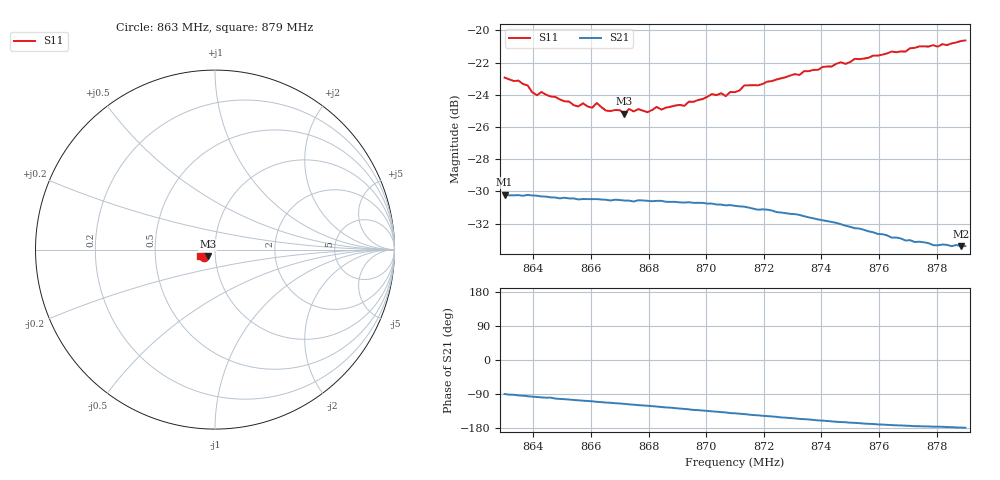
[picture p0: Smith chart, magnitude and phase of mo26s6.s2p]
# HZ S RI R 50
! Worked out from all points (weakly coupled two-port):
!   101 points, 863 MHz to 879 MHz, reference 50 ohm
!   highest |S21| = -30.20 dB at 863 MHz (marker M1); lowest = -33.4 dB at 878.84 MHz (marker M2)
!   lowest |S11| = -25.2 dB at 867.16 MHz (marker M3), VSWR 1.12, Z = 46 - j3.48 ohm
!   |S11| at or under -10 dB: start of sweep to end of sweep
!   S12 and S22 are empty: the file has one direction only
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8.63e8  -0.0585 -0.0409  0.000192 -0.0309  0 0  0 0
8.638e8  -0.0557 -0.0382  -0.00298 -0.0307  0 0  0 0
8.6412e8  -0.0507 -0.0372  -0.00402 -0.0304  0 0  0 0
8.6428e8  -0.0524 -0.0374  -0.00466 -0.0301  0 0  0 0
8.6556e8  -0.0453 -0.0363  -0.0084 -0.0287  0 0  0 0
8.6572e8  -0.0451 -0.0387  -0.00897 -0.0286  0 0  0 0
8.6604e8  -0.0446 -0.0364  -0.00975 -0.0283  0 0  0 0
8.662e8  -0.0453 -0.0386  -0.0104 -0.0281  0 0  0 0
8.6652e8  -0.0422 -0.0374  -0.0113 -0.0275  0 0  0 0
8.6716e8  -0.0401 -0.0377  -0.0129 -0.0267  0 0  0 0
8.6732e8  -0.0405 -0.0401  -0.0135 -0.0264  0 0  0 0
8.6844e8  -0.0385 -0.0418  -0.0166 -0.0245  0 0  0 0
8.6924e8  -0.0381 -0.0442  -0.0184 -0.0227  0 0  0 0
8.702e8  -0.041 -0.0484  -0.0207 -0.0203  0 0  0 0
8.7068e8  -0.0405 -0.0476  -0.0214 -0.019  0 0  0 0
8.71e8  -0.0408 -0.0497  -0.0221 -0.0181  0 0  0 0
8.7132e8  -0.0441 -0.0511  -0.0225 -0.0172  0 0  0 0
8.718e8  -0.0432 -0.0519  -0.023 -0.0155  0 0  0 0
8.7372e8  -0.0517 -0.0549  -0.0242 -0.00974  0 0  0 0
8.7644e8  -0.0709 -0.0487  -0.0225 -0.00324  0 0  0 0
8.7884e8  -0.0847 -0.0377  -0.0214 -0.000619  0 0  0 0
8.79e8  -0.0858 -0.0362  -0.0214 -0.000454  0 0  0 0
